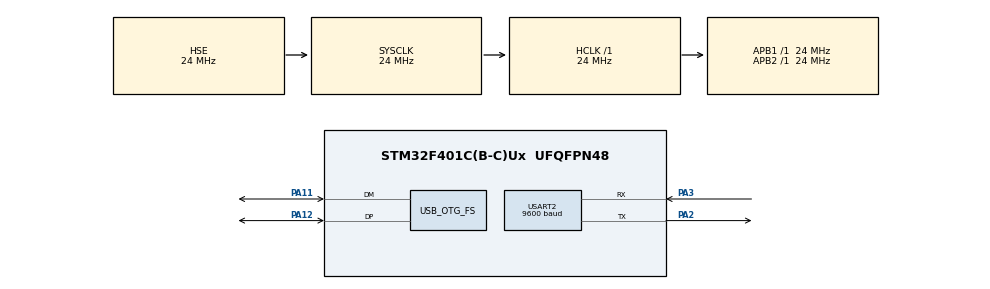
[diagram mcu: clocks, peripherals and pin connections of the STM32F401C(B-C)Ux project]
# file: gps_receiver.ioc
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Dma.Request0=USART2_RX
Dma.USART2_RX.0.Direction=DMA_PERIPH_TO_MEMORY
Dma.USART2_RX.0.FIFOMode=DMA_FIFOMODE_DISABLE
Dma.USART2_RX.0.Instance=DMA1_Stream5
Dma.USART2_RX.0.MemDataAlignment=DMA_MDATAALIGN_BYTE
Dma.USART2_RX.0.MemInc=DMA_MINC_ENABLE
Dma.USART2_RX.0.Mode=DMA_NORMAL
Dma.USART2_RX.0.PeriphDataAlignment=DMA_PDATAALIGN_BYTE
Dma.USART2_RX.0.PeriphInc=DMA_PINC_DISABLE
Dma.USART2_RX.0.Priority=DMA_PRIORITY_MEDIUM
Mcu.Family=STM32F4
Mcu.Name=STM32F401C(B-C)Ux
Mcu.Package=UFQFPN48
NVIC.DMA1_Stream5_IRQn=true\:0\:0\:false\:false\:true\:false\:true\:true
NVIC.OTG_FS_IRQn=true\:0\:0\:false\:false\:true\:false\:true\:true
NVIC.PriorityGroup=NVIC_PRIORITYGROUP_4
NVIC.USART2_IRQn=true\:0\:0\:false\:false\:true\:true\:true\:true
PA11.Mode=Device_Only
PA11.Signal=USB_OTG_FS_DM
PA12.Mode=Device_Only
PA12.Signal=USB_OTG_FS_DP
PA2.Mode=Asynchronous
PA2.Signal=USART2_TX
PA3.Mode=Asynchronous
PA3.Signal=USART2_RX
PH0\ -\ OSC_IN.Mode=HSE-External-Oscillator
PH0\ -\ OSC_IN.Signal=RCC_OSC_IN
PH1\ -\ OSC_OUT.Mode=HSE-External-Oscillator
PH1\ -\ OSC_OUT.Signal=RCC_OSC_OUT
ProjectManager.HeapSize=0x800
ProjectManager.StackSize=0x800
ProjectManager.TargetToolchain=STM32CubeIDE
RCC.48MHZClocksFreq_Value=48000000
RCC.AHBFreq_Value=24000000
RCC.APB1Freq_Value=24000000
RCC.APB1TimFreq_Value=24000000
RCC.APB2Freq_Value=24000000
RCC.APB2TimFreq_Value=24000000
RCC.CortexFreq_Value=24000000
RCC.HCLKFreq_Value=24000000
RCC.HSE_VALUE=24000000
RCC.HSI_VALUE=16000000
RCC.LSE_VALUE=32768
RCC.PLLM=12
RCC.PLLN=72
RCC.PLLQ=3
RCC.SYSCLKFreq_VALUE=24000000
RCC.SYSCLKSource=RCC_SYSCLKSOURCE_HSE
RCC.VCOOutputFreq_Value=144000000
USART2.BaudRate=9600
USART2.Mode=MODE_RX
USART2.VirtualMode=VM_ASYNC
USB_DEVICE.CLASS_NAME_FS=CDC
USB_DEVICE.VirtualMode=Cdc
USB_DEVICE.VirtualModeFS=Cdc_FS
USB_OTG_FS.VirtualMode=Device_Only
VP_USB_DEVICE_VS_USB_DEVICE_CDC_FS.Mode=CDC_FS
board=custom

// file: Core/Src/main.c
/* USER CODE BEGIN Header */
/**
  ******************************************************************************
  * @file           : main.c
  * @brief          : Main program body
  ******************************************************************************
  * @attention
  *
  * Copyright (c) 2024 STMicroelectronics.
  * All rights reserved.
  *
  * This software is licensed under terms that can be found in the LICENSE file
  * in the root directory of this software component.
  * If no LICENSE file comes with this software, it is provided AS-IS.
  *
  ******************************************************************************
  */
/* USER CODE END Header */
#include "main.h"
#include "usb_device.h"

/* USER CODE BEGIN Includes */

#include <stdio.h>
#include <string.h>
#include <stdlib.h>
#include "nmea.h"
#include "usbd_cdc_if.h"

/* USER CODE END Includes */

UART_HandleTypeDef huart2;
DMA_HandleTypeDef hdma_usart2_rx;

/* USER CODE BEGIN PV */

#define LINE_SIZE 128
#define UART_RX_BUF 16
#define CDC_TX_BUF 256

static char uart2_rx_buffer[UART_RX_BUF];
static char line_buffer[LINE_SIZE];
static char transmit_buffer[CDC_TX_BUF] = { '\0' };

/* USER CODE END PV */

void SystemClock_Config(void);
static void MX_GPIO_Init(void);
static void MX_DMA_Init(void);
static void MX_USART2_UART_Init(void);

/* USER CODE BEGIN 0 */

void transmit_data(NMEAData* data) {
	zeroize(transmit_buffer, CDC_TX_BUF);
	nmea_format(data, transmit_buffer, CDC_TX_BUF);

	CDC_Transmit_FS((uint8_t*)transmit_buffer, strlen(transmit_buffer));
}

void HAL_UART_RxCpltCallback(UART_HandleTypeDef *huart) {
	int bytes = UART_RX_BUF;
	char* term_cdx;

	// check for sentence termination
	term_cdx = strstr(uart2_rx_buffer, "\r\n");

	// remaining bytes to fill into the sentence
	if (term_cdx)
		bytes = term_cdx - uart2_rx_buffer + 2;

	strncat(line_buffer, uart2_rx_buffer, bytes);

	if (term_cdx) {
		NMEAData data = { 0 };
		nmea_process_line(line_buffer, &data);
		transmit_data(&data);
		// prepare next sentence
		zeroize(line_buffer, sizeof(line_buffer));
		strncat(line_buffer, uart2_rx_buffer + bytes, UART_RX_BUF - bytes);
	}

	zeroize(uart2_rx_buffer, sizeof(uart2_rx_buffer)); // in event of idle line
	HAL_UART_Receive_DMA(&huart2, (uint8_t*)uart2_rx_buffer, UART_RX_BUF);
}

/* USER CODE END 0 */

int main(void)
{

  /* MCU Configuration--------------------------------------------------------*/

  /* Reset of all peripherals, Initializes the Flash interface and the Systick. */
  HAL_Init();

  /* Configure the system clock */
  SystemClock_Config();

  /* Initialize all configured peripherals */
  MX_GPIO_Init();
  MX_DMA_Init();
  MX_USB_DEVICE_Init();
  MX_USART2_UART_Init();
  /* USER CODE BEGIN 2 */

  __HAL_UART_ENABLE_IT(&huart2, UART_IT_IDLE);
  HAL_UART_Receive_DMA(&huart2, (uint8_t*)uart2_rx_buffer, UART_RX_BUF);

  /* USER CODE END 2 */

  /* Infinite loop */
  while (1)
  {

  }
}

void SystemClock_Config(void)
{
  RCC_OscInitTypeDef RCC_OscInitStruct = {0};
  RCC_ClkInitTypeDef RCC_ClkInitStruct = {0};

  /** Configure the main internal regulator output voltage
  */
  __HAL_RCC_PWR_CLK_ENABLE();
  __HAL_PWR_VOLTAGESCALING_CONFIG(PWR_REGULATOR_VOLTAGE_SCALE2);

  /** Initializes the RCC Oscillators according to the specified parameters
  * in the RCC_OscInitTypeDef structure.
  */
  RCC_OscInitStruct.OscillatorType = RCC_OSCILLATORTYPE_HSE;
  RCC_OscInitStruct.HSEState = RCC_HSE_ON;
  RCC_OscInitStruct.PLL.PLLState = RCC_PLL_ON;
  RCC_OscInitStruct.PLL.PLLSource = RCC_PLLSOURCE_HSE;
  RCC_OscInitStruct.PLL.PLLM = 12;
  RCC_OscInitStruct.PLL.PLLN = 72;
  RCC_OscInitStruct.PLL.PLLP = RCC_PLLP_DIV2;
  RCC_OscInitStruct.PLL.PLLQ = 3;
  if (HAL_RCC_OscConfig(&RCC_OscInitStruct) != HAL_OK)
  {
    Error_Handler();
  }

  /** Initializes the CPU, AHB and APB buses clocks
  */
  RCC_ClkInitStruct.ClockType = RCC_CLOCKTYPE_HCLK|RCC_CLOCKTYPE_SYSCLK
                              |RCC_CLOCKTYPE_PCLK1|RCC_CLOCKTYPE_PCLK2;
  RCC_ClkInitStruct.SYSCLKSource = RCC_SYSCLKSOURCE_HSE;
  RCC_ClkInitStruct.AHBCLKDivider = RCC_SYSCLK_DIV1;
  RCC_ClkInitStruct.APB1CLKDivider = RCC_HCLK_DIV1;
  RCC_ClkInitStruct.APB2CLKDivider = RCC_HCLK_DIV1;

  if (HAL_RCC_ClockConfig(&RCC_ClkInitStruct, FLASH_LATENCY_0) != HAL_OK)
  {
    Error_Handler();
  }
}

static void MX_USART2_UART_Init(void)
{

  huart2.Instance = USART2;
  huart2.Init.BaudRate = 9600;
  huart2.Init.WordLength = UART_WORDLENGTH_8B;
  huart2.Init.StopBits = UART_STOPBITS_1;
  huart2.Init.Parity = UART_PARITY_NONE;
  huart2.Init.Mode = UART_MODE_RX;
  huart2.Init.HwFlowCtl = UART_HWCONTROL_NONE;
  huart2.Init.OverSampling = UART_OVERSAMPLING_16;
  if (HAL_UART_Init(&huart2) != HAL_OK)
  {
    Error_Handler();
  }

}

static void MX_DMA_Init(void)
{

  /* DMA controller clock enable */
  __HAL_RCC_DMA1_CLK_ENABLE();

  /* DMA interrupt init */
  /* DMA1_Stream5_IRQn interrupt configuration */
  HAL_NVIC_SetPriority(DMA1_Stream5_IRQn, 0, 0);
  HAL_NVIC_EnableIRQ(DMA1_Stream5_IRQn);

}

static void MX_GPIO_Init(void)
{

  /* GPIO Ports Clock Enable */
  __HAL_RCC_GPIOH_CLK_ENABLE();
  __HAL_RCC_GPIOA_CLK_ENABLE();

}

void Error_Handler(void)
{
  __disable_irq();
  while (1)
  {
  }
}
